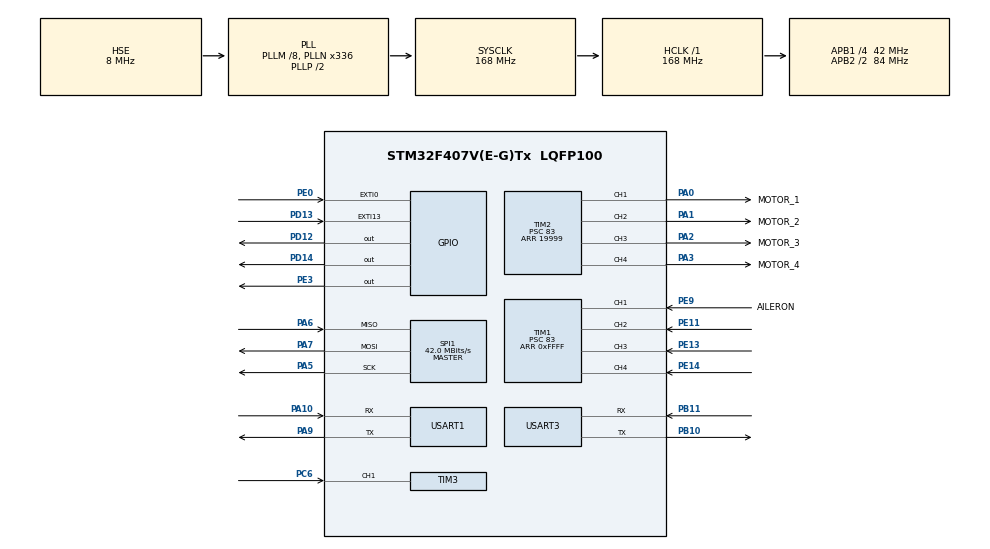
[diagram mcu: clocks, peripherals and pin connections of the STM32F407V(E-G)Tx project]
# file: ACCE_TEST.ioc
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Mcu.Family=STM32F4
Mcu.Name=STM32F407V(E-G)Tx
Mcu.Package=LQFP100
NVIC.EXTI0_IRQn=true\:0\:0\:false\:false\:true\:true\:true\:true
NVIC.EXTI15_10_IRQn=true\:0\:0\:false\:false\:true\:true\:true\:true
NVIC.PriorityGroup=NVIC_PRIORITYGROUP_0
NVIC.TIM1_CC_IRQn=true\:0\:0\:false\:false\:true\:true\:true\:true
NVIC.TIM3_IRQn=true\:0\:0\:false\:false\:true\:true\:true\:true
PA0-WKUP.GPIO_Label=MOTOR_1
PA0-WKUP.Signal=S_TIM2_CH1_ETR
PA1.GPIO_Label=MOTOR_2
PA1.Signal=S_TIM2_CH2
PA10.Mode=Asynchronous
PA10.Signal=USART1_RX
PA13.Mode=Serial_Wire
PA13.Signal=SYS_JTMS-SWDIO
PA14.Mode=Serial_Wire
PA14.Signal=SYS_JTCK-SWCLK
PA2.GPIO_Label=MOTOR_3
PA2.Signal=S_TIM2_CH3
PA3.GPIO_Label=MOTOR_4
PA3.Signal=S_TIM2_CH4
PA5.Mode=Full_Duplex_Master
PA5.Signal=SPI1_SCK
PA6.Mode=Full_Duplex_Master
PA6.Signal=SPI1_MISO
PA7.Mode=Full_Duplex_Master
PA7.Signal=SPI1_MOSI
PA9.Mode=Asynchronous
PA9.Signal=USART1_TX
PB10.Mode=Asynchronous
PB10.Signal=USART3_TX
PB11.Mode=Asynchronous
PB11.Signal=USART3_RX
PC6.Signal=S_TIM3_CH1
PD12.Signal=GPIO_Output
PD13.Signal=GPXTI13
PD14.Signal=GPIO_Output
PE0.Signal=GPXTI0
PE11.Signal=S_TIM1_CH2
PE13.Signal=S_TIM1_CH3
PE14.Signal=S_TIM1_CH4
PE3.PinState=GPIO_PIN_RESET
PE3.Signal=GPIO_Output
PE9.GPIO_Label=AILERON
PE9.Signal=S_TIM1_CH1
PH0-OSC_IN.Mode=HSE-External-Oscillator
PH0-OSC_IN.Signal=RCC_OSC_IN
PH1-OSC_OUT.Mode=HSE-External-Oscillator
PH1-OSC_OUT.Signal=RCC_OSC_OUT
ProjectManager.HeapSize=0x200
ProjectManager.StackSize=0x400
ProjectManager.TargetToolchain=STM32CubeIDE
RCC.48MHZClocksFreq_Value=48000000
RCC.AHBFreq_Value=168000000
RCC.APB1CLKDivider=RCC_HCLK_DIV4
RCC.APB1Freq_Value=42000000
RCC.APB1TimFreq_Value=84000000
RCC.APB2CLKDivider=RCC_HCLK_DIV2
RCC.APB2Freq_Value=84000000
RCC.APB2TimFreq_Value=168000000
RCC.CortexFreq_Value=168000000
RCC.HCLKFreq_Value=168000000
RCC.HSE_VALUE=8000000
RCC.HSI_VALUE=16000000
RCC.LSE_VALUE=32768
RCC.PLLM=8
RCC.PLLN=336
RCC.PLLQ=7
RCC.PLLSourceVirtual=RCC_PLLSOURCE_HSE
RCC.SYSCLKFreq_VALUE=168000000
RCC.SYSCLKSource=RCC_SYSCLKSOURCE_PLLCLK
RCC.VCOOutputFreq_Value=336000000
SH.S_TIM1_CH1.0=TIM1_CH1,Input_Capture1_from_TI1
SH.S_TIM1_CH2.0=TIM1_CH2,Input_Capture2_from_TI2
SH.S_TIM1_CH3.0=TIM1_CH3,Input_Capture3_from_TI3
SH.S_TIM1_CH4.0=TIM1_CH4,Input_Capture4_from_TI4
SH.S_TIM2_CH1_ETR.0=TIM2_CH1,PWM Generation1 CH1
SH.S_TIM2_CH2.0=TIM2_CH2,PWM Generation2 CH2
SH.S_TIM2_CH3.0=TIM2_CH3,PWM Generation3 CH3
SH.S_TIM2_CH4.0=TIM2_CH4,PWM Generation4 CH4
SH.S_TIM3_CH1.0=TIM3_CH1,Input_Capture1_from_TI1
SPI1.CalculateBaudRate=42.0 MBits/s
SPI1.Direction=SPI_DIRECTION_2LINES
SPI1.Mode=SPI_MODE_MASTER
SPI1.VirtualType=VM_MASTER
TIM1.Channel-Input_Capture1_from_TI1=TIM_CHANNEL_1
TIM1.Channel-Input_Capture2_from_TI2=TIM_CHANNEL_2
TIM1.Channel-Input_Capture3_from_TI3=TIM_CHANNEL_3
TIM1.Channel-Input_Capture4_from_TI4=TIM_CHANNEL_4
TIM1.ICPolarity_CH1=TIM_INPUTCHANNELPOLARITY_BOTHEDGE
TIM1.Period=0xFFFF
TIM1.Prescaler=83
TIM2.Channel-PWM\ Generation1\ CH1=TIM_CHANNEL_1
TIM2.Channel-PWM\ Generation2\ CH2=TIM_CHANNEL_2
TIM2.Channel-PWM\ Generation3\ CH3=TIM_CHANNEL_3
TIM2.Channel-PWM\ Generation4\ CH4=TIM_CHANNEL_4
TIM2.Period=19999
TIM2.Prescaler=83
TIM3.Channel-Input_Capture1_from_TI1=TIM_CHANNEL_1
TIM3.ICPolarity_CH1=TIM_INPUTCHANNELPOLARITY_BOTHEDGE
TIM3.Period=0xFFFF
TIM3.Prescaler=83
USART1.VirtualMode=VM_ASYNC
USART3.VirtualMode=VM_ASYNC
VP_TIM1_VS_ClockSourceINT.Mode=Internal
VP_TIM3_VS_ClockSourceINT.Mode=Internal
board=STM32F407G-DISC1

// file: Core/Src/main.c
/* USER CODE BEGIN Header */
/**
  ******************************************************************************
  * @file           : main.c
  * @brief          : Main program body
  ******************************************************************************
  * @attention
  *
  * Copyright (c) 2024 STMicroelectronics.
  * All rights reserved.
  *
  * This software is licensed under terms that can be found in the LICENSE file
  * in the root directory of this software component.
  * If no LICENSE file comes with this software, it is provided AS-IS.
  *
  ******************************************************************************
  */
/* USER CODE END Header */
#include "main.h"

/* USER CODE BEGIN Includes */
#include "MY_LIS3DSH.h"
#include "math.h"
#include "stdlib.h"
#include "stdio.h"
/* USER CODE END Includes */

/* USER CODE BEGIN PTD */
typedef struct motor_speed {
	volatile uint32_t motor_speed[4];
}motor_throttle;

motor_throttle loiter_mode;
motor_throttle stabilize_mode;
motor_throttle motor_pid_output;
/* USER CODE END PTD */

SPI_HandleTypeDef hspi1;

TIM_HandleTypeDef htim1;
TIM_HandleTypeDef htim2;
TIM_HandleTypeDef htim3;

UART_HandleTypeDef huart1;
UART_HandleTypeDef huart3;

/* USER CODE BEGIN PV */
/* Private variables ---------------------------------------------------------*/
#define MEMS_CS_GPIO_Port 	GPIOE
#define MEMS_CS_Pin		 	GPIO_PIN_3
uint32_t t=0;
double roll = 0;
double pitch=0;
char tx_buf[64];

float pid_roll_value = 0;
float pid_pitch_value = 0;

volatile uint32_t ch1_rising = 0, ch2_rising = 0, ch3_rising = 0, ch4_rising = 0, ch5_rising = 0, ch5_falling = 0, pre_ch5 = 0, mode_status = 0;
volatile uint32_t ch1_falling = 0, ch2_falling = 0, ch3_falling = 0, ch4_falling = 0;
volatile uint32_t pre_ch1 = 0, ch1 = 0, pre_ch2 = 0, ch2 = 0, pre_ch3 = 0, ch3 = 0, pre_ch4 = 0, ch4 = 0;

float kp = 1.0;
float ki =	0.1;
float kd =0.01;

float error_roll = 0, error_pitch = 0;
float last_error_roll = 0, last_error_pitch = 0;
float integral_roll = 0, integral_pitch = 0;

int motor_speeds[4] = {0, 0, 0, 0};

float desired_roll = 0, desired_pitch = 0;

float measured_roll, measured_pitch;

LIS3DSH_DataScaled  X;
LIS3DSH_DataScaledY Y;
LIS3DSH_DataScaledZ Z;

uint16_t degree_change_percentage(uint16_t In, uint16_t Inmin, uint16_t Inmax, uint16_t Outmin, uint16_t Outmax);

uint8_t drdyFlag=0;

uint16_t rec_roll, roll_right,roll_left,pitch_forward,pitch_back,yaw_right,yaw_left,rec_pitch,rec_yaw,rec_throttle;

double xAngle = 0;
/* USER CODE END PV */

void SystemClock_Config(void);
static void MX_GPIO_Init(void);
static void MX_SPI1_Init(void);
static void MX_TIM1_Init(void);
static void MX_USART1_UART_Init(void);
static void MX_USART3_UART_Init(void);
static void MX_TIM2_Init(void);
static void MX_TIM3_Init(void);
/* USER CODE BEGIN PFP */
/* Private function prototypes -----------------------------------------------*/

/* USER CODE END PFP */

/* USER CODE BEGIN 0 */
void tim_start(void);

void acces_measure(void);

void loiter_drone_mode(void);

void stabilize_drone_mode(void);

void stabilize_motor_output(void);

void receiver_motor_value(void);

void pid_rol_pitch_value(float measured_roll, float measured_pitch);

void loiter_motor_output(void);

void HAL_TIM_IC_CaptureCallback(TIM_HandleTypeDef *htim);

/* USER CODE END 0 */

int main(void)
{
  /* USER CODE BEGIN 1 */
	LIS3DSH_InitTypeDef myAccConfigDef;
  /* USER CODE END 1 */

  /* MCU Configuration--------------------------------------------------------*/

  /* Reset of all peripherals, Initializes the Flash interface and the Systick. */
  HAL_Init();

  /* Configure the system clock */
  SystemClock_Config();

  /* Initialize all configured peripherals */
  MX_GPIO_Init();
  MX_SPI1_Init();
  MX_TIM1_Init();
  MX_USART1_UART_Init();
  MX_USART3_UART_Init();
  MX_TIM2_Init();
  MX_TIM3_Init();
  /* USER CODE BEGIN 2 */
  HAL_TIM_Base_Start(&htim1);
  myAccConfigDef.dataRate = LIS3DSH_DATARATE_25;
  myAccConfigDef.fullScale = LIS3DSH_FULLSCALE_4;
  myAccConfigDef.antiAliasingBW = LIS3DSH_FILTER_BW_50;
  myAccConfigDef.enableAxes = LIS3DSH_XYZ_ENABLE;
  myAccConfigDef.interruptEnable = true;
  LIS3DSH_Init(&hspi1, &myAccConfigDef);

  LIS3DSH_X_calibrate(-1000.0, 980.0);
  LIS3DSH_Y_calibrate(-1020.0, 1040.0);
  LIS3DSH_Z_calibrate(-920.0, 1040.0);

  /* HAL PWM START */
  HAL_TIM_PWM_Start(&htim2, TIM_CHANNEL_1);
  HAL_TIM_PWM_Start(&htim2, TIM_CHANNEL_2);
  HAL_TIM_PWM_Start(&htim2, TIM_CHANNEL_3);
  HAL_TIM_PWM_Start(&htim2, TIM_CHANNEL_4);

  __HAL_TIM_SET_COMPARE(&htim2, TIM_CHANNEL_1,1000);
  __HAL_TIM_SET_COMPARE(&htim2, TIM_CHANNEL_2,1000);
  __HAL_TIM_SET_COMPARE(&htim2, TIM_CHANNEL_3,1000);
  __HAL_TIM_SET_COMPARE(&htim2, TIM_CHANNEL_4,1000);

  HAL_Delay(3000);

  /* USER CODE END 2 */

  /* Infinite loop */
  while (1)
  {

    /* USER CODE BEGIN 3 */

	  tim_start(); 											/* Timer start htim1, input capture */

	 stabilize_drone_mode();								/* Drone is stabilize mode active */

	 acces_measure();
	  //loiter_drone_mode();									/* Drone is loiter mode active */

  }
  /* USER CODE END 3 */
}

void SystemClock_Config(void)
{
  RCC_OscInitTypeDef RCC_OscInitStruct = {0};
  RCC_ClkInitTypeDef RCC_ClkInitStruct = {0};

  /** Configure the main internal regulator output voltage
  */
  __HAL_RCC_PWR_CLK_ENABLE();
  __HAL_PWR_VOLTAGESCALING_CONFIG(PWR_REGULATOR_VOLTAGE_SCALE1);

  /** Initializes the RCC Oscillators according to the specified parameters
  * in the RCC_OscInitTypeDef structure.
  */
  RCC_OscInitStruct.OscillatorType = RCC_OSCILLATORTYPE_HSE;
  RCC_OscInitStruct.HSEState = RCC_HSE_ON;
  RCC_OscInitStruct.PLL.PLLState = RCC_PLL_ON;
  RCC_OscInitStruct.PLL.PLLSource = RCC_PLLSOURCE_HSE;
  RCC_OscInitStruct.PLL.PLLM = 8;
  RCC_OscInitStruct.PLL.PLLN = 336;
  RCC_OscInitStruct.PLL.PLLP = RCC_PLLP_DIV2;
  RCC_OscInitStruct.PLL.PLLQ = 7;
  if (HAL_RCC_OscConfig(&RCC_OscInitStruct) != HAL_OK)
  {
    Error_Handler();
  }

  /** Initializes the CPU, AHB and APB buses clocks
  */
  RCC_ClkInitStruct.ClockType = RCC_CLOCKTYPE_HCLK|RCC_CLOCKTYPE_SYSCLK
                              |RCC_CLOCKTYPE_PCLK1|RCC_CLOCKTYPE_PCLK2;
  RCC_ClkInitStruct.SYSCLKSource = RCC_SYSCLKSOURCE_PLLCLK;
  RCC_ClkInitStruct.AHBCLKDivider = RCC_SYSCLK_DIV1;
  RCC_ClkInitStruct.APB1CLKDivider = RCC_HCLK_DIV4;
  RCC_ClkInitStruct.APB2CLKDivider = RCC_HCLK_DIV2;

  if (HAL_RCC_ClockConfig(&RCC_ClkInitStruct, FLASH_LATENCY_5) != HAL_OK)
  {
    Error_Handler();
  }
}

static void MX_SPI1_Init(void)
{

  /* SPI1 parameter configuration*/
  hspi1.Instance = SPI1;
  hspi1.Init.Mode = SPI_MODE_MASTER;
  hspi1.Init.Direction = SPI_DIRECTION_2LINES;
  hspi1.Init.DataSize = SPI_DATASIZE_8BIT;
  hspi1.Init.CLKPolarity = SPI_POLARITY_LOW;
  hspi1.Init.CLKPhase = SPI_PHASE_1EDGE;
  hspi1.Init.NSS = SPI_NSS_SOFT;
  hspi1.Init.BaudRatePrescaler = SPI_BAUDRATEPRESCALER_2;
  hspi1.Init.FirstBit = SPI_FIRSTBIT_MSB;
  hspi1.Init.TIMode = SPI_TIMODE_DISABLE;
  hspi1.Init.CRCCalculation = SPI_CRCCALCULATION_DISABLE;
  hspi1.Init.CRCPolynomial = 10;
  if (HAL_SPI_Init(&hspi1) != HAL_OK)
  {
    Error_Handler();
  }

}

static void MX_TIM1_Init(void)
{

  TIM_ClockConfigTypeDef sClockSourceConfig = {0};
  TIM_MasterConfigTypeDef sMasterConfig = {0};
  TIM_IC_InitTypeDef sConfigIC = {0};

  htim1.Instance = TIM1;
  htim1.Init.Prescaler = 83;
  htim1.Init.CounterMode = TIM_COUNTERMODE_UP;
  htim1.Init.Period = 0xFFFF;
  htim1.Init.ClockDivision = TIM_CLOCKDIVISION_DIV1;
  htim1.Init.RepetitionCounter = 0;
  htim1.Init.AutoReloadPreload = TIM_AUTORELOAD_PRELOAD_DISABLE;
  if (HAL_TIM_Base_Init(&htim1) != HAL_OK)
  {
    Error_Handler();
  }
  sClockSourceConfig.ClockSource = TIM_CLOCKSOURCE_INTERNAL;
  if (HAL_TIM_ConfigClockSource(&htim1, &sClockSourceConfig) != HAL_OK)
  {
    Error_Handler();
  }
  if (HAL_TIM_IC_Init(&htim1) != HAL_OK)
  {
    Error_Handler();
  }
  sMasterConfig.MasterOutputTrigger = TIM_TRGO_RESET;
  sMasterConfig.MasterSlaveMode = TIM_MASTERSLAVEMODE_DISABLE;
  if (HAL_TIMEx_MasterConfigSynchronization(&htim1, &sMasterConfig) != HAL_OK)
  {
    Error_Handler();
  }
  sConfigIC.ICPolarity = TIM_INPUTCHANNELPOLARITY_BOTHEDGE;
  sConfigIC.ICSelection = TIM_ICSELECTION_DIRECTTI;
  sConfigIC.ICPrescaler = TIM_ICPSC_DIV1;
  sConfigIC.ICFilter = 0;
  if (HAL_TIM_IC_ConfigChannel(&htim1, &sConfigIC, TIM_CHANNEL_1) != HAL_OK)
  {
    Error_Handler();
  }
  sConfigIC.ICPolarity = TIM_INPUTCHANNELPOLARITY_RISING;
  if (HAL_TIM_IC_ConfigChannel(&htim1, &sConfigIC, TIM_CHANNEL_2) != HAL_OK)
  {
    Error_Handler();
  }
  if (HAL_TIM_IC_ConfigChannel(&htim1, &sConfigIC, TIM_CHANNEL_3) != HAL_OK)
  {
    Error_Handler();
  }
  if (HAL_TIM_IC_ConfigChannel(&htim1, &sConfigIC, TIM_CHANNEL_4) != HAL_OK)
  {
    Error_Handler();
  }

}

static void MX_TIM2_Init(void)
{

  TIM_MasterConfigTypeDef sMasterConfig = {0};
  TIM_OC_InitTypeDef sConfigOC = {0};

  htim2.Instance = TIM2;
  htim2.Init.Prescaler = 83;
  htim2.Init.CounterMode = TIM_COUNTERMODE_UP;
  htim2.Init.Period = 19999;
  htim2.Init.ClockDivision = TIM_CLOCKDIVISION_DIV1;
  htim2.Init.AutoReloadPreload = TIM_AUTORELOAD_PRELOAD_DISABLE;
  if (HAL_TIM_PWM_Init(&htim2) != HAL_OK)
  {
    Error_Handler();
  }
  sMasterConfig.MasterOutputTrigger = TIM_TRGO_RESET;
  sMasterConfig.MasterSlaveMode = TIM_MASTERSLAVEMODE_DISABLE;
  if (HAL_TIMEx_MasterConfigSynchronization(&htim2, &sMasterConfig) != HAL_OK)
  {
    Error_Handler();
  }
  sConfigOC.OCMode = TIM_OCMODE_PWM1;
  sConfigOC.Pulse = 0;
  sConfigOC.OCPolarity = TIM_OCPOLARITY_HIGH;
  sConfigOC.OCFastMode = TIM_OCFAST_DISABLE;
  if (HAL_TIM_PWM_ConfigChannel(&htim2, &sConfigOC, TIM_CHANNEL_1) != HAL_OK)
  {
    Error_Handler();
  }
  if (HAL_TIM_PWM_ConfigChannel(&htim2, &sConfigOC, TIM_CHANNEL_2) != HAL_OK)
  {
    Error_Handler();
  }
  if (HAL_TIM_PWM_ConfigChannel(&htim2, &sConfigOC, TIM_CHANNEL_3) != HAL_OK)
  {
    Error_Handler();
  }
  if (HAL_TIM_PWM_ConfigChannel(&htim2, &sConfigOC, TIM_CHANNEL_4) != HAL_OK)
  {
    Error_Handler();
  }
  HAL_TIM_MspPostInit(&htim2);

}

static void MX_TIM3_Init(void)
{

  TIM_ClockConfigTypeDef sClockSourceConfig = {0};
  TIM_MasterConfigTypeDef sMasterConfig = {0};
  TIM_IC_InitTypeDef sConfigIC = {0};

  htim3.Instance = TIM3;
  htim3.Init.Prescaler = 83;
  htim3.Init.CounterMode = TIM_COUNTERMODE_UP;
  htim3.Init.Period = 0xFFFF;
  htim3.Init.ClockDivision = TIM_CLOCKDIVISION_DIV1;
  htim3.Init.AutoReloadPreload = TIM_AUTORELOAD_PRELOAD_DISABLE;
  if (HAL_TIM_Base_Init(&htim3) != HAL_OK)
  {
    Error_Handler();
  }
  sClockSourceConfig.ClockSource = TIM_CLOCKSOURCE_INTERNAL;
  if (HAL_TIM_ConfigClockSource(&htim3, &sClockSourceConfig) != HAL_OK)
  {
    Error_Handler();
  }
  if (HAL_TIM_IC_Init(&htim3) != HAL_OK)
  {
    Error_Handler();
  }
  sMasterConfig.MasterOutputTrigger = TIM_TRGO_RESET;
  sMasterConfig.MasterSlaveMode = TIM_MASTERSLAVEMODE_DISABLE;
  if (HAL_TIMEx_MasterConfigSynchronization(&htim3, &sMasterConfig) != HAL_OK)
  {
    Error_Handler();
  }
  sConfigIC.ICPolarity = TIM_INPUTCHANNELPOLARITY_BOTHEDGE;
  sConfigIC.ICSelection = TIM_ICSELECTION_DIRECTTI;
  sConfigIC.ICPrescaler = TIM_ICPSC_DIV1;
  sConfigIC.ICFilter = 0;
  if (HAL_TIM_IC_ConfigChannel(&htim3, &sConfigIC, TIM_CHANNEL_1) != HAL_OK)
  {
    Error_Handler();
  }

}

static void MX_USART1_UART_Init(void)
{

  huart1.Instance = USART1;
  huart1.Init.BaudRate = 115200;
  huart1.Init.WordLength = UART_WORDLENGTH_8B;
  huart1.Init.StopBits = UART_STOPBITS_1;
  huart1.Init.Parity = UART_PARITY_NONE;
  huart1.Init.Mode = UART_MODE_TX_RX;
  huart1.Init.HwFlowCtl = UART_HWCONTROL_NONE;
  huart1.Init.OverSampling = UART_OVERSAMPLING_16;
  if (HAL_UART_Init(&huart1) != HAL_OK)
  {
    Error_Handler();
  }

}

static void MX_USART3_UART_Init(void)
{

  huart3.Instance = USART3;
  huart3.Init.BaudRate = 115200;
  huart3.Init.WordLength = UART_WORDLENGTH_8B;
  huart3.Init.StopBits = UART_STOPBITS_1;
  huart3.Init.Parity = UART_PARITY_NONE;
  huart3.Init.Mode = UART_MODE_TX_RX;
  huart3.Init.HwFlowCtl = UART_HWCONTROL_NONE;
  huart3.Init.OverSampling = UART_OVERSAMPLING_16;
  if (HAL_UART_Init(&huart3) != HAL_OK)
  {
    Error_Handler();
  }

}

static void MX_GPIO_Init(void)
{
  GPIO_InitTypeDef GPIO_InitStruct = {0};

  /* GPIO Ports Clock Enable */
  __HAL_RCC_GPIOE_CLK_ENABLE();
  __HAL_RCC_GPIOH_CLK_ENABLE();
  __HAL_RCC_GPIOA_CLK_ENABLE();
  __HAL_RCC_GPIOB_CLK_ENABLE();
  __HAL_RCC_GPIOD_CLK_ENABLE();
  __HAL_RCC_GPIOC_CLK_ENABLE();

  /*Configure GPIO pin Output Level */
  HAL_GPIO_WritePin(GPIOE, GPIO_PIN_3, GPIO_PIN_RESET);

  /*Configure GPIO pin Output Level */
  HAL_GPIO_WritePin(GPIOD, GPIO_PIN_12|GPIO_PIN_14, GPIO_PIN_RESET);

  /*Configure GPIO pin : PE3 */
  GPIO_InitStruct.Pin = GPIO_PIN_3;
  GPIO_InitStruct.Mode = GPIO_MODE_OUTPUT_PP;
  GPIO_InitStruct.Pull = GPIO_NOPULL;
  GPIO_InitStruct.Speed = GPIO_SPEED_FREQ_LOW;
  HAL_GPIO_Init(GPIOE, &GPIO_InitStruct);

  /*Configure GPIO pins : PD12 PD14 */
  GPIO_InitStruct.Pin = GPIO_PIN_12|GPIO_PIN_14;
  GPIO_InitStruct.Mode = GPIO_MODE_OUTPUT_PP;
  GPIO_InitStruct.Pull = GPIO_NOPULL;
  GPIO_InitStruct.Speed = GPIO_SPEED_FREQ_LOW;
  HAL_GPIO_Init(GPIOD, &GPIO_InitStruct);

  /*Configure GPIO pin : PD13 */
  GPIO_InitStruct.Pin = GPIO_PIN_13;
  GPIO_InitStruct.Mode = GPIO_MODE_IT_RISING;
  GPIO_InitStruct.Pull = GPIO_NOPULL;
  HAL_GPIO_Init(GPIOD, &GPIO_InitStruct);

  /*Configure GPIO pin : PE0 */
  GPIO_InitStruct.Pin = GPIO_PIN_0;
  GPIO_InitStruct.Mode = GPIO_MODE_IT_RISING;
  GPIO_InitStruct.Pull = GPIO_NOPULL;
  HAL_GPIO_Init(GPIOE, &GPIO_InitStruct);

  /* EXTI interrupt init*/
  HAL_NVIC_SetPriority(EXTI0_IRQn, 0, 0);
  HAL_NVIC_EnableIRQ(EXTI0_IRQn);

  HAL_NVIC_SetPriority(EXTI15_10_IRQn, 0, 0);
  HAL_NVIC_EnableIRQ(EXTI15_10_IRQn);

}

/* USER CODE BEGIN 4 */
void HAL_GPIO_EXTI_Callback(uint16_t GPIO_Pin)
{

	UNUSED(GPIO_Pin);

	drdyFlag = 1;
	HAL_GPIO_TogglePin(GPIOD, GPIO_PIN_13);
	//End
};

void stabilize_drone_mode(void)
{
	// Receiver value is control.
	receiver_motor_value();

	//Motor speed, roll, pitch, yaw value.
	stabilize_mode.motor_speed[0] = 1000 + rec_throttle + roll_right - roll_left + pitch_back - pitch_forward + yaw_right - yaw_left;
	stabilize_mode.motor_speed[1] = 1000 + rec_throttle + roll_right - roll_left - pitch_back + pitch_forward - yaw_right + yaw_left;
	stabilize_mode.motor_speed[2] = 1000 + rec_throttle + roll_left - roll_right + pitch_back - pitch_forward - yaw_right + yaw_left;
	stabilize_mode.motor_speed[3] = 1000 + rec_throttle + roll_left - roll_right - pitch_back + pitch_forward + yaw_right - yaw_left ;

//	stabilize_mode.motor_speed[0] = 1000 + rec_throttle + roll_right - roll_left + pitch_back - pitch_forward + yaw_right - yaw_left;
//	stabilize_mode.motor_speed[1] = 1000 + rec_throttle + roll_right - roll_left - pitch_back + pitch_forward + yaw_left - yaw_right;
//	stabilize_mode.motor_speed[2] = 1000 + rec_throttle + roll_left - roll_right - pitch_back + pitch_forward + yaw_right - yaw_left;
//	stabilize_mode.motor_speed[3] = 1000 + rec_throttle + roll_left - roll_right + pitch_back - pitch_forward + yaw_left - yaw_right;

	// Motor speed roll, pitch, yaw stopper 0 - 2000.
	if(stabilize_mode.motor_speed[0] >=2000 ) stabilize_mode.motor_speed[0] = 2000;
	if(stabilize_mode.motor_speed[1] >=2000 ) stabilize_mode.motor_speed[1] = 2000;
	if(stabilize_mode.motor_speed[2] >=2000 ) stabilize_mode.motor_speed[2] = 2000;
	if(stabilize_mode.motor_speed[3] >=2000 ) stabilize_mode.motor_speed[3] = 2000;

	if(stabilize_mode.motor_speed[0] <=1000 ) stabilize_mode.motor_speed[0] = 1000;
	if(stabilize_mode.motor_speed[1] <=1000 ) stabilize_mode.motor_speed[1] = 1000;
	if(stabilize_mode.motor_speed[2] <=1000 ) stabilize_mode.motor_speed[2] = 1000;
	if(stabilize_mode.motor_speed[3] <=1000 ) stabilize_mode.motor_speed[3] = 1000;

	// Motor value to pwm compare set.
	stabilize_motor_output();
   // End
};

void pid_rol_pitch_value(float measured_roll, float measured_pitch) {
    // Roll PID calculate

    error_roll = desired_roll - measured_roll;
    integral_roll += error_roll;

     pid_roll_value = kp * error_roll + ki * integral_roll + kd * (error_roll - last_error_roll);
     pid_roll_value /= 800;

    last_error_roll = error_roll;

    // Pitch PID calculate
    error_pitch = desired_pitch - measured_pitch;
    integral_pitch += error_pitch;

    pid_pitch_value = kp * error_pitch + ki * integral_pitch + kd * (error_pitch - last_error_pitch);
    pid_pitch_value /= 800;
    last_error_pitch = error_pitch;

};

void loiter_drone_mode(void)
{
	receiver_motor_value();									/* Receiver value is control 	*/

	acces_measure();										/* Roll and pitch angle measure */

	pid_rol_pitch_value(measured_roll, measured_pitch);		/* Roll and pitch  pid control */

	loiter_mode.motor_speed[0] = 1000 + rec_throttle + roll_right - roll_left + pitch_back - pitch_forward + yaw_right - yaw_left;
	loiter_mode.motor_speed[1] = 1000 + rec_throttle + roll_right - roll_left - pitch_back + pitch_forward + yaw_left - yaw_right;
	loiter_mode.motor_speed[2] = 1000 + rec_throttle + roll_left - roll_right - pitch_back + pitch_forward + yaw_right - yaw_left;
	loiter_mode.motor_speed[3] = 1000 + rec_throttle + roll_left - roll_right + pitch_back - pitch_forward + yaw_left - yaw_right;

	// Motor speed roll, pitch, yaw stopper 0 - 2000.
	if(loiter_mode.motor_speed[0] >=2000 ) loiter_mode.motor_speed[0] = 2000;
	if(loiter_mode.motor_speed[1] >=2000 ) loiter_mode.motor_speed[1] = 2000;
	if(loiter_mode.motor_speed[2] >=2000 ) loiter_mode.motor_speed[2] = 2000;
	if(loiter_mode.motor_speed[3] >=2000 ) loiter_mode.motor_speed[3] = 2000;

	if(loiter_mode.motor_speed[0] <=1000 ) loiter_mode.motor_speed[0] = 1000;
	if(loiter_mode.motor_speed[1] <=1000 ) loiter_mode.motor_speed[1] = 1000;
	if(loiter_mode.motor_speed[2] <=1000 ) loiter_mode.motor_speed[2] = 1000;
	if(loiter_mode.motor_speed[3] <=1000 ) loiter_mode.motor_speed[3] = 1000;

};

uint16_t degree_change_percentage(uint16_t In, uint16_t Inmin, uint16_t Inmax, uint16_t Outmin, uint16_t Outmax)
{
	return (In- Inmin) * (Outmax- Outmin) / (Inmax -Inmin) + Outmin;
	//End
};

void tim_start(void)
{
	   HAL_TIM_IC_Start_IT(&htim1, TIM_CHANNEL_1);
	   HAL_TIM_IC_Start_IT(&htim1, TIM_CHANNEL_2);
	   HAL_TIM_IC_Start_IT(&htim1, TIM_CHANNEL_3);
	   HAL_TIM_IC_Start_IT(&htim1, TIM_CHANNEL_4);
	   // End
};

void stabilize_motor_output(void)
{
	__HAL_TIM_SET_COMPARE(&htim2, TIM_CHANNEL_1,stabilize_mode.motor_speed[0]);
	__HAL_TIM_SET_COMPARE(&htim2, TIM_CHANNEL_2,stabilize_mode.motor_speed[1]);
	__HAL_TIM_SET_COMPARE(&htim2, TIM_CHANNEL_3,stabilize_mode.motor_speed[2]);
	__HAL_TIM_SET_COMPARE(&htim2, TIM_CHANNEL_4,stabilize_mode.motor_speed[3]);
	// End
};

void loiter_motor_output(void)
{
	__HAL_TIM_SET_COMPARE(&htim2, TIM_CHANNEL_1,loiter_mode.motor_speed[0]);
	__HAL_TIM_SET_COMPARE(&htim2, TIM_CHANNEL_2,loiter_mode.motor_speed[1]);
	__HAL_TIM_SET_COMPARE(&htim2, TIM_CHANNEL_3,loiter_mode.motor_speed[2]);
	__HAL_TIM_SET_COMPARE(&htim2, TIM_CHANNEL_4,loiter_mode.motor_speed[3]);
	// End
};

void acces_measure(void)
{
	if(drdyFlag == 1)
	{

		drdyFlag = 0;
		X = LIS3DSH_GetDataScaled();
		Y = LIS3DSH_GetDataScaledY();
		Z = LIS3DSH_GetDataScaledZ();

		measured_roll = (int)((((atan2((double)(-X.x) , sqrt((double)Y.y *(double) Y.y +(double) Z.z *(double) Z.z)) * 57.3)+1.5))* -1);
	}
		measured_pitch =(int)((atan2(Y.y, Z.z) * 180 / 3.14)+1.2);
}

void receiver_motor_value(void)
{
	roll_right = degree_change_percentage(rec_roll, 500, 1000, 0, 50);
	if(roll_right >=1050) roll_right = 0;
	roll_left = degree_change_percentage(rec_roll, 0, 500, 50, 0);
	if(roll_left >=1050) roll_left = 0;
	yaw_right = degree_change_percentage(rec_yaw, 500, 1000, 0, 50);
	if(yaw_right >= 1050) yaw_right = 0;
	yaw_left = degree_change_percentage(rec_yaw, 0, 500, 50, 0);
	if(yaw_left >= 1050) yaw_left = 0;
	pitch_forward = degree_change_percentage(rec_pitch,0 , 500, 50, 0);
	if(pitch_forward >= 1050) pitch_forward = 0;
	pitch_back = degree_change_percentage(rec_pitch,500 , 1000, 0, 50);
	if(pitch_back >= 1050) pitch_back = 0;
	// End
};

void HAL_TIM_IC_CaptureCallback(TIM_HandleTypeDef *htim)
{
	if(htim->Instance == TIM1)
	{
		switch(htim->Channel)
		{
		case HAL_TIM_ACTIVE_CHANNEL_1:
			if((TIM1->CCER & TIM_CCER_CC1P)==0)
			{
				ch1_rising = TIM1->CCR1;
				TIM1->CCER |= TIM_CCER_CC1P;
			}

			else
			{
				ch1_falling = TIM1->CCR1;
				pre_ch1 = ch1_falling - ch1_rising;
				//if(pre_ch1 < 0)pre_ch1 += 0xFFFF;
				pre_ch1 = degree_change_percentage(pre_ch1, 2140, 3862, 0,1000);
				if(pre_ch1 <= 1000 && pre_ch1 >= 0)rec_roll=pre_ch1;
				TIM1->CCER &= ~TIM_CCER_CC1P;

				/*
				 * ch1_rising 65000
				 * ch1 falling 570
				 * pre_ch1 = pre_ch1 falling - pre_ch1_rising = 570 - 65000 = -64430
				 * pre_ch1 +=0xFFFF(65536) --> 1106
				 */
			}
			break;
		case HAL_TIM_ACTIVE_CHANNEL_2:
			if((TIM1->CCER & TIM_CCER_CC2P)==0)
			{
				ch2_rising = TIM1->CCR2;
				TIM1->CCER |= TIM_CCER_CC2P;
			}
			else
			{
				ch2_falling = TIM1->CCR2;
				pre_ch2 = ch2_falling - ch2_rising;
				if(pre_ch2 < 0)pre_ch2 += 0xFFFF;
				pre_ch2 = degree_change_percentage(pre_ch2, 2140, 3862, 0, 1000);
				if(pre_ch2 <= 1000 && pre_ch2 >= 0)rec_pitch=pre_ch2;
				TIM1->CCER &= ~TIM_CCER_CC2P;
			}
			break;
		case HAL_TIM_ACTIVE_CHANNEL_3:
			if((TIM1->CCER & TIM_CCER_CC3P)==0)
			{
				ch3_rising = TIM1->CCR3;
				TIM1->CCER |= TIM_CCER_CC3P;
			}
			else
			{
				ch3_falling = TIM1->CCR3;
				pre_ch3 = ch3_falling - ch3_rising;
				if(pre_ch3 < 0)pre_ch3 += 0xFFFF;
				pre_ch3 = degree_change_percentage(pre_ch3, 2140, 3862, 0, 1000);
				if(pre_ch3 <= 1000 && pre_ch3 >= 0)rec_throttle=pre_ch3;
				TIM1->CCER &= ~TIM_CCER_CC3P;
			}
			break;
		case HAL_TIM_ACTIVE_CHANNEL_4:
			if((TIM1->CCER & TIM_CCER_CC4P)==0)
			{
				ch4_rising = TIM1->CCR4;
				TIM1->CCER |= TIM_CCER_CC4P;
			}
			else
			{
				ch4_falling = TIM1->CCR4;
				pre_ch4 = ch4_falling - ch4_rising;
				if(pre_ch4 < 0)pre_ch4 += 0xFFFF;
				pre_ch4 = degree_change_percentage(pre_ch4, 2140, 3862, 0, 1000);
				if(pre_ch4 <= 1000 && pre_ch4 >= 0)rec_yaw=pre_ch4;
				TIM1->CCER &= ~TIM_CCER_CC4P;
			}
			break;
		default:
			break;
		}
	}

	if(htim->Instance == TIM3) {
		if((TIM3->CCER & TIM_CCER_CC1P)==0)
					{
						ch5_rising = TIM3->CCR1;
						TIM3->CCER |= TIM_CCER_CC1P;
					}

					else
					{
						ch5_falling = TIM3->CCR1;
						pre_ch1 = ch1_falling - ch1_rising;
						//if(pre_ch1 < 0)pre_ch1 += 0xFFFF;
						pre_ch5 = degree_change_percentage(pre_ch5, 2140, 3862, 0,1000);
						if(pre_ch5 <= 1000 && pre_ch5 >= 0)mode_status=pre_ch5;
						TIM3->CCER &= ~TIM_CCER_CC1P;

						/*
						 * ch1_rising 65000
						 * ch1 falling 570
						 * pre_ch1 = pre_ch1 falling - pre_ch1_rising = 570 - 65000 = -64430
						 * pre_ch1 +=0xFFFF(65536) --> 1106
						 */
					}

	}
};
/* USER CODE END 4 */

void Error_Handler(void)
{
  while(1)
  {
  }
}
